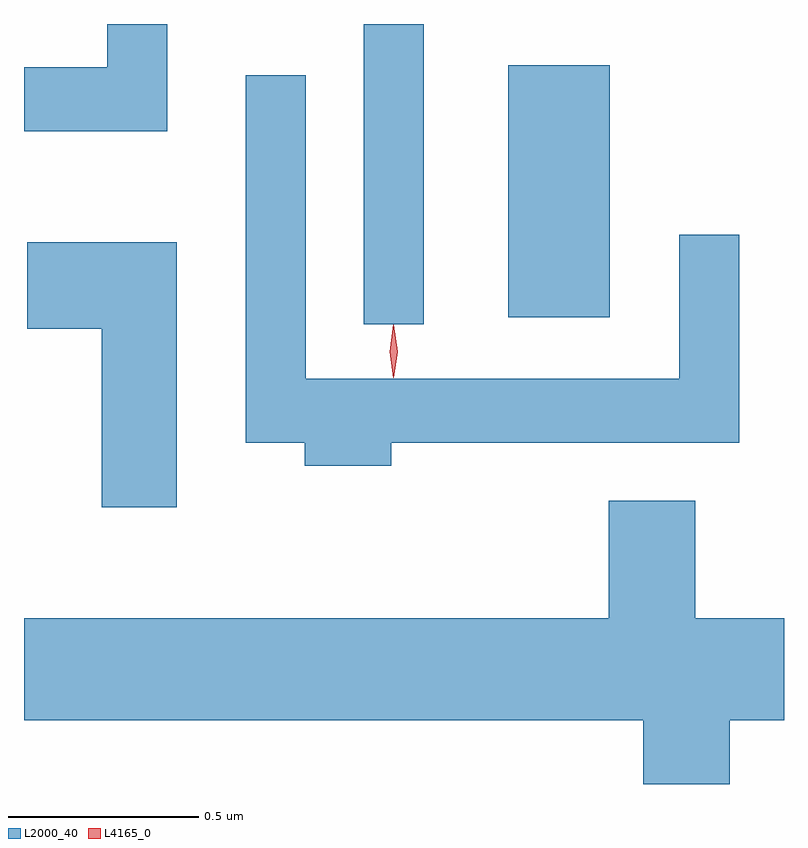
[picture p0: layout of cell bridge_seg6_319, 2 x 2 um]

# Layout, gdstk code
import gdstk
lib = gdstk.Library(unit=1e-6, precision=1e-09)
def R(c, l, rs):  # rectangles x0, y0, x1, y1
    for r in rs: c.add(gdstk.rectangle(r[:2], r[2:], *l))
def P(c, l, *ps):  # polygons
    for p in ps: c.add(gdstk.Polygon(p, *l))
L2000_40 = (2000, 40)
L4165_0 = (4165, 0)

bridge_seg6_319 = lib.new_cell('bridge_seg6_319')
R(bridge_seg6_319, L2000_40, [(1284.916,1553.298,1285.074,1554.088), (1285.296,1553.316,1285.564,1553.979)])
P(bridge_seg6_319, L2000_40, [(1284.399,1554.088),(1284.241,1554.088),(1284.241,1553.974),(1284.022,1553.974),(1284.022,1553.806),(1284.399,1553.806)],
  [(1284.989,1552.986),(1285.904,1552.986),(1285.904,1553.533),(1285.746,1553.533),(1285.746,1553.154),(1284.764,1553.154),(1284.764,1553.953),(1284.606,1553.953),(1284.606,1552.986),(1284.761,1552.986),(1284.761,1552.926),(1284.989,1552.926)],
  [(1284.424,1553.514),(1284.031,1553.514),(1284.031,1553.286),(1284.226,1553.286),(1284.226,1552.816),(1284.424,1552.816)],
  [(1285.879,1552.256),(1286.022,1552.256),(1286.022,1552.524),(1285.789,1552.524),(1285.789,1552.834),(1285.561,1552.834),(1285.561,1552.524),(1284.022,1552.524),(1284.022,1552.256),(1285.651,1552.256),(1285.651,1552.088),(1285.879,1552.088)])
P(bridge_seg6_319, L4165_0, [(1284.995,1553.159),(1284.994,1553.16),(1284.985,1553.226),(1284.994,1553.292),(1284.995,1553.293),(1284.995,1553.292),(1285.005,1553.226),(1284.995,1553.16)],
  [(1284.994,1553.157),(1284.985,1553.226),(1284.994,1553.296),(1284.995,1553.296),(1284.995,1553.296),(1285.005,1553.226),(1284.995,1553.157),(1284.995,1553.157)])

lib.write_gds('bridge_seg6_319.gds')
